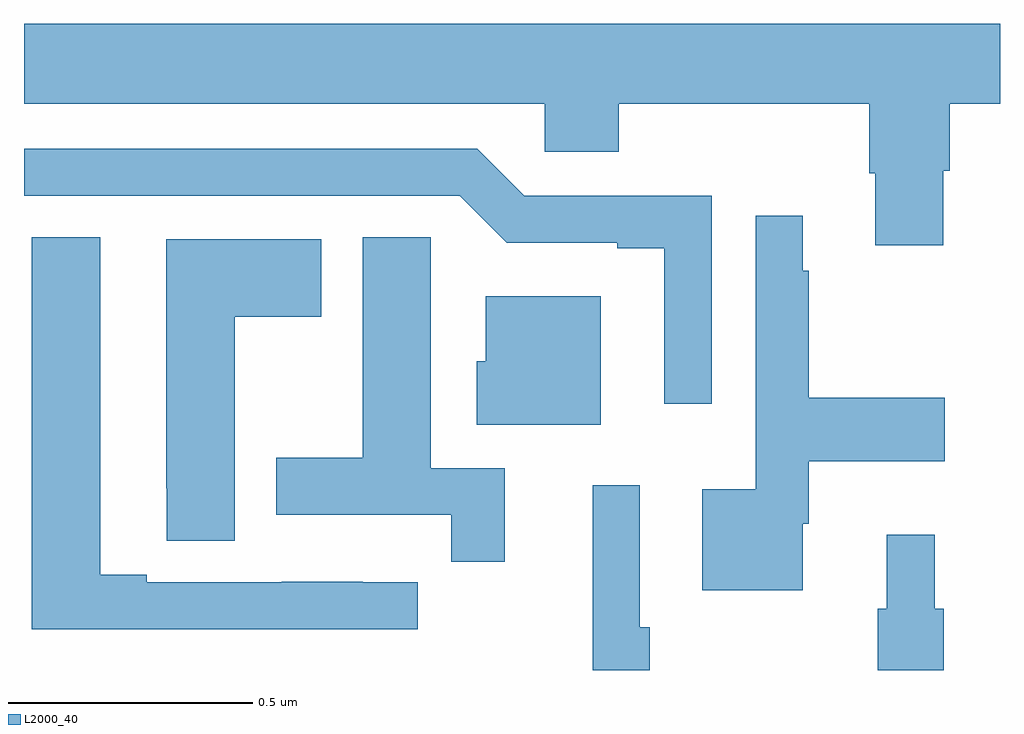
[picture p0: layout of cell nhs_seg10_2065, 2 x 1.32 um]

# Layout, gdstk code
import gdstk
lib = gdstk.Library(unit=1e-6, precision=1e-09)
def P(c, l, *ps):  # polygons
    for p in ps: c.add(gdstk.Polygon(p, *l))
L2000_40 = (2000, 40)

nhs_seg10_2065 = lib.new_cell('nhs_seg10_2065')
P(nhs_seg10_2065, L2000_40, [(137.884,1289.523),(137.897,1289.523),(137.897,1289.66),(138,1289.66),(138,1289.824),(136,1289.824),(136,1289.66),(137.067,1289.66),(137.067,1289.562),(137.219,1289.562),(137.219,1289.66),(137.732,1289.66),(137.732,1289.518),(137.744,1289.518),(137.744,1289.37),(137.884,1289.37)],
  [(137.409,1289.472),(137.025,1289.472),(136.929,1289.568),(136,1289.568),(136,1289.472),(136.893,1289.472),(136.989,1289.376),(137.216,1289.376),(137.216,1289.364),(137.312,1289.364),(137.312,1289.046),(137.409,1289.046)],
  [(137.596,1288.8),(137.608,1288.8),(137.608,1288.928),(137.887,1288.928),(137.887,1289.058),(137.608,1289.058),(137.608,1289.318),(137.596,1289.318),(137.596,1289.431),(137.499,1289.431),(137.499,1288.87),(137.39,1288.87),(137.39,1288.664),(137.596,1288.664)],
  [(136.807,1288.68),(136.694,1288.68),(136.694,1288.681),(136.528,1288.681),(136.528,1288.68),(136.252,1288.68),(136.252,1288.695),(136.156,1288.695),(136.156,1289.387),(136.016,1289.387),(136.016,1288.584),(136.807,1288.584)],
  [(136.985,1288.914),(136.834,1288.914),(136.834,1289.276),(136.833,1289.276),(136.833,1289.387),(136.694,1289.387),(136.694,1288.935),(136.517,1288.935),(136.517,1288.818),(136.876,1288.818),(136.876,1288.722),(136.985,1288.722)],
  [(136.432,1289.224),(136.609,1289.224),(136.609,1289.383),(136.292,1289.383),(136.292,1288.873),(136.293,1288.873),(136.293,1288.765),(136.432,1288.765)],
  [(137.182,1289.266),(136.946,1289.266),(136.946,1289.133),(136.928,1289.133),(136.928,1289.003),(137.182,1289.003)],
  [(137.282,1288.588),(137.262,1288.588),(137.262,1288.879),(137.165,1288.879),(137.165,1288.5),(137.282,1288.5)],
  [(137.885,1288.626),(137.866,1288.626),(137.866,1288.777),(137.768,1288.777),(137.768,1288.626),(137.749,1288.626),(137.749,1288.5),(137.885,1288.5)])

lib.write_gds('nhs_seg10_2065.gds')
